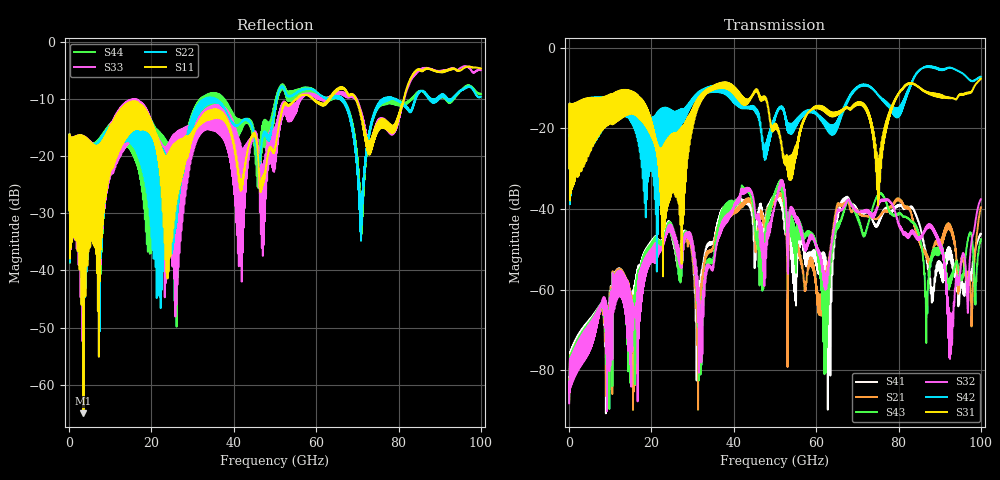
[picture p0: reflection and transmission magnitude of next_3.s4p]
# Hz S RI R 50
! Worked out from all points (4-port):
!   10000 points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, 10 MHz to 100 GHz, reference 50 ohm
!   strongest paths, dB at 10 MHz, 25.01 GHz, 50.01 GHz, 75.01 GHz, 100 GHz:
!     S31: -29.9, -28.1, -18.9, -38.2, -7.6
!     S42: -29.9, -15.8, -16.8, -11.6, -7.2
!     S32: -88.3, -44.7, -38.8, -39.4, -37.6
!     S43: -87.9, -44.5, -35.6, -36.5, -47.5
!     S21: -87.7, -44.6, -37.5, -42.4, -39.5
!     S41: -87.3, -44.5, -37.0, -43.7, -46.2
!   lowest |S11| = -65.0 dB at 3.5 GHz (marker M1), VSWR 1.00, Z = 50 + j0.0494 ohm
!   |S11| at or under -10 dB: start of sweep to 55.26 GHz; 59.25 GHz to 63.15 GHz (3.898 GHz wide, 6.37 % of centre); 69.57 GHz to 81.29 GHz (11.72 GHz wide, 15.5 % of centre)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
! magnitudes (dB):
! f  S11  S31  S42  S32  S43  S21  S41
! 10 MHz  -29.5  -29.9  -29.9  -88.3  -87.9  -87.7  -87.3
! 3.5 GHz  -65.0  -22.3  -26.1  -71.1  -70.5  -70.4  -69.7
! 51.62 GHz  -12.2  -24.9  -14.6  -32.7  -33.4  -36.2  -38.5
! 60.99 GHz  -11.0  -14.4  -17.0  -52.3  -56.1  -66.4  -53.3
! 77.5 GHz  -15.4  -17.1  -14.1  -37.6  -40.1  -40.1  -40.3
! 92.74 GHz  -4.9  -12.4  -5.0  -75.6  -58.4  -44.3  -50.6
! 100 GHz  -4.7  -7.6  -7.2  -37.6  -47.5  -39.5  -46.2
